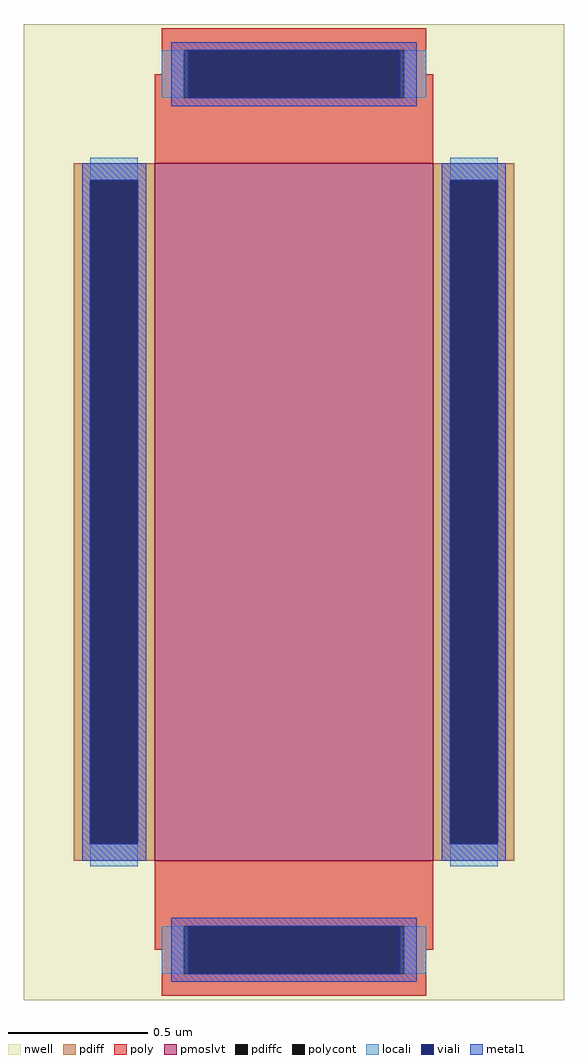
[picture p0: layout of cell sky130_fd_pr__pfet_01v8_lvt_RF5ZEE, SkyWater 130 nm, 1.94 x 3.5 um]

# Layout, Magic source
magic
tech sky130A
magscale 1 2
<< nwell >>
rect -194 -350 194 350
<< pmoslvt >>
rect -100 -250 100 250
<< pdiff >>
rect -158 238 -100 250
rect -158 -238 -146 238
rect -112 -238 -100 238
rect -158 -250 -100 -238
rect 100 238 158 250
rect 100 -238 112 238
rect 146 -238 158 238
rect 100 -250 158 -238
<< pdiffc >>
rect -146 -238 -112 238
rect 112 -238 146 238
<< poly >>
rect -95 331 95 347
rect -95 314 -79 331
rect -100 297 -79 314
rect 79 314 95 331
rect 79 297 100 314
rect -100 250 100 297
rect -100 -297 100 -250
rect -100 -314 -79 -297
rect -95 -331 -79 -314
rect 79 -314 100 -297
rect 79 -331 95 -314
rect -95 -347 95 -331
<< polycont >>
rect -79 297 79 331
rect -79 -331 79 -297
<< locali >>
rect -95 297 -79 331
rect 79 297 95 331
rect -146 238 -112 254
rect -146 -254 -112 -238
rect 112 238 146 254
rect 112 -254 146 -238
rect -95 -331 -79 -297
rect 79 -331 95 -297
<< viali >>
rect -76 297 76 331
rect -146 -238 -112 238
rect 112 -238 146 238
rect -76 -331 76 -297
<< metal1 >>
rect -88 331 88 337
rect -88 297 -76 331
rect 76 297 88 331
rect -88 291 88 297
rect -152 238 -106 250
rect -152 -238 -146 238
rect -112 -238 -106 238
rect -152 -250 -106 -238
rect 106 238 152 250
rect 106 -238 112 238
rect 146 -238 152 238
rect 106 -250 152 -238
rect -88 -297 88 -291
rect -88 -331 -76 -297
rect 76 -331 88 -297
rect -88 -337 88 -331
<< properties >>
string gencell sky130_fd_pr__pfet_01v8_lvt
string library sky130
string parameters w 2.5 l 1.0 m 1 nf 1 diffcov 100 polycov 94 guard 0 glc 1 grc 1 gtc 1 gbc 1 tbcov 100 rlcov 100 topc 1 botc 1 poverlap 0 doverlap 1 lmin 0.35 wmin 0.42 class mosfet compatible {sky130_fd_pr__pfet_01v8  sky130_fd_pr__pfet_01v8_lvt sky130_fd_pr__pfet_01v8_hvt  sky130_fd_pr__pfet_g5v0d10v5} full_metal 1 viasrc 100 viadrn 100 viagate 90 viagb 0 viagr 0 viagl 0 viagt 0
<< end >>
